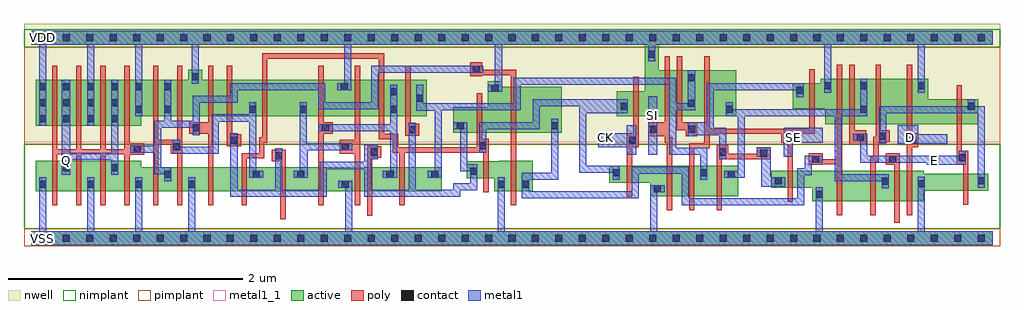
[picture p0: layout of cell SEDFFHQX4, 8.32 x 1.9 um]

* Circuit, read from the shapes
.subckt SEDFFHQX4 CK D E Q SE SI VDD VSS
M1 Q n1 VSS VSS nfet w=0.26u l=0.045u m=4
M2 n1 n2 VSS VSS nfet w=0.205u l=0.045u m=2
M3 n3 n1 VSS VSS nfet w=0.205u l=0.045u
M4 n2 n4 n3 VSS nfet w=0.205u l=0.045u
M5 n5 n6 n2 VSS nfet w=0.205u l=0.045u
M6 VSS n7 n5 VSS nfet w=0.205u l=0.045u
M7 n8 n5 VSS VSS nfet w=0.205u l=0.045u
M8 n7 n6 n8 VSS nfet w=0.205u l=0.045u
M9 n9 n4 n7 VSS nfet w=0.205u l=0.045u
M10 VSS n4 n6 VSS nfet w=0.145u l=0.045u
M11 n10 n1 VSS VSS nfet w=0.26u l=0.045u
M12 VSS CK n4 VSS nfet w=0.145u l=0.045u
M13 n11 SI VSS VSS nfet w=0.26u l=0.045u
M14 n9 SE n11 VSS nfet w=0.26u l=0.045u
M15 n12 n13 n9 VSS nfet w=0.26u l=0.045u
M16 VSS SE n13 VSS nfet w=0.145u l=0.045u
M17 n14 n10 VSS VSS nfet w=0.26u l=0.045u
M18 n12 n15 n14 VSS nfet w=0.26u l=0.045u
M19 n16 E n12 VSS nfet w=0.26u l=0.045u
M20 VSS D n16 VSS nfet w=0.26u l=0.045u
M21 n15 E VSS VSS nfet w=0.145u l=0.045u
M22 Q n1 VDD VDD pfet w=0.39u l=0.045u m=4
M23 n1 n2 VDD VDD pfet w=0.31u l=0.045u m=2
M24 n17 n1 VDD VDD pfet w=0.31u l=0.045u
M25 n2 n6 n17 VDD pfet w=0.31u l=0.045u
M26 n5 n4 n2 VDD pfet w=0.31u l=0.045u
M27 VDD n7 n5 VDD pfet w=0.31u l=0.045u
M28 n18 n5 VDD VDD pfet w=0.31u l=0.045u
M29 n7 n4 n18 VDD pfet w=0.31u l=0.045u
M30 n9 n6 n7 VDD pfet w=0.31u l=0.045u
M31 VDD n4 n6 VDD pfet w=0.215u l=0.045u
M32 n10 n1 VDD VDD pfet w=0.39u l=0.045u
M33 VDD CK n4 VDD pfet w=0.215u l=0.045u
M34 n19 SI VDD VDD pfet w=0.39u l=0.045u
M35 n9 n13 n19 VDD pfet w=0.39u l=0.045u
M36 n12 SE n9 VDD pfet w=0.39u l=0.045u
M37 VDD SE n13 VDD pfet w=0.215u l=0.045u
M38 n20 n10 VDD VDD pfet w=0.39u l=0.045u
M39 n12 E n20 VDD pfet w=0.39u l=0.045u
M40 n21 n15 n12 VDD pfet w=0.39u l=0.045u
M41 VDD D n21 VDD pfet w=0.39u l=0.045u
M42 n15 E VDD VDD pfet w=0.215u l=0.045u
.ends

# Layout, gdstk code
import gdstk
lib = gdstk.Library(unit=1e-6, precision=5e-10)
def R(c, l, rs):  # rectangles x0, y0, x1, y1
    for r in rs: c.add(gdstk.rectangle(r[:2], r[2:], *l))
def A(c, l, x, y, w, h, nx, ny, dx, dy):  # array of equal rectangles
    R(c, l, [(x+i*dx, y+j*dy, x+i*dx+w, y+j*dy+h) for i in range(nx) for j in range(ny)])
def P(c, l, *ps):  # polygons
    for p in ps: c.add(gdstk.Polygon(p, *l))
active = (1, 0)
nwell = (2, 0)
poly = (3, 0)
nimplant = (4, 0)
pimplant = (5, 0)
contact = (6, 0)
metal1 = (7, 0)
metal1_1 = (7, 1)

sedffhqx4 = lib.new_cell('SEDFFHQX4')
R(sedffhqx4, active, [(0,-0.06,8.2,0.06)])
P(sedffhqx4, active, [(0,1.77),(8.2,1.77),(8.2,1.65),(5.35,1.65),(5.35,1.43),(6.01,1.43),(6.01,1.04),(4.995,1.04),(4.995,1.255),(5.23,1.255),(5.23,1.65),(0,1.65)],
  [(1.34,1.435),(1.46,1.435),(1.46,1.35),(3.375,1.35),(3.375,1.04),(0.94,1.04),(0.94,0.96),(0.04,0.96),(0.04,1.35),(1.34,1.35)],
  [(3.895,1.34),(4.015,1.34),(4.015,1.29),(4.525,1.29),(4.525,0.9),(3.6,0.9),(3.6,1.115),(3.895,1.115)],
  [(6.73,1.36),(7.65,1.36),(7.65,1.185),(8.075,1.185),(8.075,0.97),(6.77,0.97),(6.77,1.105),(6.495,1.105),(6.495,1.32),(6.73,1.32)],
  [(0.04,0.66),(0.94,0.66),(0.94,0.605),(3.5,0.605),(3.5,0.4),(0.04,0.4)],
  [(3.99,0.66),(4.275,0.66),(4.275,0.4),(3.95,0.4),(3.95,0.51),(3.715,0.51),(3.715,0.655),(3.99,0.655)],
  [(4.93,0.62),(6.03,0.62),(6.03,0.36),(5.28,0.36),(5.28,0.475),(4.93,0.475)],
  [(6.31,0.575),(7.61,0.575),(7.61,0.55),(8.16,0.55),(8.16,0.405),(7.61,0.405),(7.61,0.315),(6.66,0.315),(6.66,0.43),(6.31,0.43)])
R(sedffhqx4, nwell, [(-0.06,0.82,8.26,1.83)])
P(sedffhqx4, poly, [(1.97,1.575),(3.01,1.575),(3.01,0.89),(3.13,0.89),(3.13,0.775),(3.8,0.775),(3.8,1.235),(3.845,1.235),(3.845,0.85),(3.9,0.85),(3.9,0.39),(3.855,0.39),(3.855,0.73),(3.185,0.73),(3.185,0.28),(3.14,0.28),(3.14,0.73),(3.085,0.73),(3.085,0.845),(2.965,0.845),(2.965,1.53),(2.015,1.53),(2.015,0.815),(1.99,0.815),(1.99,0.68),(1.84,0.68),(1.84,0.28),(1.795,0.28),(1.795,0.725),(1.945,0.725),(1.945,0.86),(1.97,0.86)],
  [(0.18,1.47),(0.225,1.47),(0.225,0.76),(0.385,0.76),(0.385,1.47),(0.43,1.47),(0.43,0.76),(0.59,0.76),(0.59,1.47),(0.635,1.47),(0.635,0.76),(0.795,0.76),(0.795,1.47),(0.84,1.47),(0.84,0.81),(0.965,0.81),(0.965,0.71),(0.84,0.71),(0.84,0.28),(0.795,0.28),(0.795,0.715),(0.635,0.715),(0.635,0.28),(0.59,0.28),(0.59,0.715),(0.43,0.715),(0.43,0.28),(0.385,0.28),(0.385,0.715),(0.225,0.715),(0.225,0.28),(0.18,0.28)],
  [(1.04,1.47),(1.085,1.47),(1.085,0.84),(1.245,0.84),(1.245,1.47),(1.29,1.47),(1.29,0.28),(1.245,0.28),(1.245,0.72),(1.19,0.72),(1.19,0.795),(1.085,0.795),(1.085,0.28),(1.04,0.28)],
  [(1.51,1.47),(1.555,1.47),(1.555,0.28),(1.51,0.28),(1.51,0.89),(1.35,0.89),(1.35,0.99),(1.51,0.99)],
  [(1.67,1.47),(1.715,1.47),(1.715,0.885),(1.79,0.885),(1.79,0.785),(1.67,0.785)],
  [(2.45,1.47),(2.495,1.47),(2.495,0.99),(2.57,0.99),(2.57,0.89),(2.495,0.89),(2.495,0.28),(2.45,0.28)],
  [(2.76,1.47),(2.805,1.47),(2.805,0.28),(2.76,0.28),(2.76,0.72),(2.63,0.72),(2.63,0.84),(2.76,0.84)],
  [(3.745,1.5),(3.845,1.5),(3.845,1.435),(4.135,1.435),(4.135,0.28),(4.09,0.28),(4.09,1.39),(3.845,1.39),(3.845,1.38),(3.745,1.38)],
  [(3.19,1.47),(3.235,1.47),(3.235,0.975),(3.31,0.975),(3.31,0.875),(3.19,0.875)],
  [(5.4,1.55),(5.445,1.55),(5.445,0.86),(5.465,0.86),(5.465,0.24),(5.42,0.24),(5.42,0.815),(5.4,0.815),(5.4,0.87),(5.26,0.87),(5.26,0.99),(5.4,0.99)],
  [(5.505,1.55),(5.55,1.55),(5.55,0.99),(5.68,0.99),(5.68,0.87),(5.58,0.87),(5.58,0.92),(5.505,0.92)],
  [(5.74,1.55),(5.785,1.55),(5.785,0.935),(6.635,0.935),(6.635,1.44),(6.68,1.44),(6.68,0.89),(6.495,0.89),(6.495,0.31),(6.45,0.31),(6.45,0.815),(6.395,0.815),(6.395,0.89),(5.785,0.89),(5.785,0.765),(5.655,0.765),(5.655,0.24),(5.61,0.24),(5.61,0.81),(5.74,0.81)],
  [(6.63,0.725),(6.75,0.725),(6.75,0.675),(6.87,0.675),(6.87,1.48),(6.915,1.48),(6.915,0.195),(6.87,0.195),(6.87,0.63),(6.75,0.63),(6.75,0.625),(6.63,0.625)],
  [(6.975,1.48),(7.02,1.48),(7.02,0.92),(7.12,0.92),(7.12,0.8),(6.975,0.8)],
  [(7.2,1.48),(7.245,1.48),(7.245,0.92),(7.32,0.92),(7.32,0.82),(7.225,0.82),(7.225,0.65),(7.2,0.65),(7.2,0.195),(7.155,0.195),(7.155,0.695),(7.18,0.695),(7.18,0.865),(7.2,0.865)],
  [(7.465,1.48),(7.51,1.48),(7.51,0.895),(7.565,0.895),(7.565,0.775),(7.51,0.775),(7.51,0.195),(7.465,0.195)],
  [(5.135,1.375),(5.18,1.375),(5.18,0.775),(5.125,0.775),(5.125,0.355),(5.08,0.355),(5.08,0.895),(5.135,0.895)],
  [(7.89,1.305),(7.935,1.305),(7.935,0.745),(7.99,0.745),(7.99,0.285),(7.945,0.285),(7.945,0.625),(7.89,0.625)],
  [(5.845,0.795),(5.945,0.795),(5.945,0.72),(6.185,0.72),(6.185,0.775),(6.305,0.775),(6.305,0.675),(5.89,0.675),(5.89,0.24),(5.845,0.24)],
  [(2.05,0.755),(2.17,0.755),(2.17,0.16),(2.125,0.16),(2.125,0.655),(2.05,0.655)],
  [(2.865,0.785),(2.985,0.785),(2.985,0.685),(2.91,0.685),(2.91,0.19),(2.865,0.19)],
  [(7.285,0.725),(7.405,0.725),(7.405,0.13),(7.36,0.13),(7.36,0.625),(7.285,0.625)])
R(sedffhqx4, nimplant, [(-0.06,0.08,8.26,0.8), (-0.06,1.63,8.26,1.78)])
R(sedffhqx4, pimplant, [(-0.06,-0.07,8.26,0.08), (-0.06,0.8,8.26,1.63)])
A(sedffhqx4, contact, 0.07, -0.03, 0.06, 0.06, 41, 2, 0.2, 1.71)
A(sedffhqx4, contact, 0.07, 0.43, 0.06, 0.06, 3, 1, 0.41, 0)
A(sedffhqx4, contact, 5.6, 0.9, 0.06, 0.06, 1, 3, 0, 0.22)
A(sedffhqx4, contact, 0.07, 0.99, 0.06, 0.06, 4, 2, 0.205, 0.135)
A(sedffhqx4, contact, 0.07, 1.26, 0.06, 0.06, 5, 1, 0.205, 0)
R(sedffhqx4, contact, [(6.69,0.345,6.75,0.405), (5.31,0.39,5.37,0.45), (1.34,0.43,1.4,0.49), (2.65,0.43,2.71,0.49), (3.98,0.43,4.04,0.49), (4.185,0.43,4.245,0.49), (7.56,0.435,7.62,0.495), (7.25,0.455,7.31,0.515), (6.34,0.46,6.4,0.52), (8.07,0.46,8.13,0.52), (1.135,0.515,1.195,0.575), (1.89,0.515,1.95,0.575), (2.27,0.515,2.33,0.575), (3.03,0.515,3.09,0.575), (3.41,0.515,3.47,0.575), (5.94,0.515,6,0.575), (4.96,0.53,5.02,0.59), (5.705,0.53,5.765,0.59), (3.745,0.54,3.805,0.6), (0.275,0.57,0.335,0.63), (0.685,0.57,0.745,0.63), (6.66,0.645,6.72,0.705), (7.315,0.645,7.375,0.705), (7.91,0.655,7.97,0.715), (2.08,0.675,2.14,0.735), (6.215,0.695,6.275,0.755), (2.895,0.705,2.955,0.765), (5.865,0.705,5.925,0.765), (0.875,0.73,0.935,0.79), (1.21,0.75,1.27,0.81), (2.65,0.75,2.71,0.81), (3.82,0.76,3.88,0.82), (1.7,0.805,1.76,0.865), (5.1,0.805,5.16,0.865), (7.485,0.805,7.545,0.865), (7.04,0.83,7.1,0.89), (7.23,0.84,7.29,0.9), (6.415,0.845,6.475,0.905), (3.22,0.895,3.28,0.955), (5.28,0.9,5.34,0.96), (1.38,0.91,1.44,0.97), (2.48,0.91,2.54,0.97), (3.63,0.93,3.69,0.99), (4.435,0.93,4.495,0.99), (0.89,1.07,0.95,1.13), (1.135,1.07,1.195,1.13), (1.86,1.07,1.92,1.13), (2.29,1.07,2.35,1.13), (3.06,1.07,3.12,1.13), (5.92,1.07,5.98,1.13), (7.07,1.07,7.13,1.13), (5.025,1.095,5.085,1.155), (7.985,1.095,8.045,1.155), (3.285,1.165,3.345,1.225), (3.06,1.22,3.12,1.28), (6.525,1.23,6.585,1.29), (3.925,1.25,3.985,1.31), (1.135,1.26,1.195,1.32), (2.64,1.26,2.7,1.32), (6.76,1.27,6.82,1.33), (7.07,1.27,7.13,1.33), (7.56,1.27,7.62,1.33), (1.37,1.345,1.43,1.405), (3.765,1.41,3.825,1.47), (5.26,1.54,5.32,1.6)])
R(sedffhqx4, metal1, [(5.26,0.71,5.34,1.21)])
P(sedffhqx4, metal1, [(0,1.77),(8.2,1.77),(8.2,1.65),(7.62,1.65),(7.62,1.24),(7.56,1.24),(7.56,1.65),(6.82,1.65),(6.82,1.24),(6.76,1.24),(6.76,1.65),(5.32,1.65),(5.32,1.51),(5.26,1.51),(5.26,1.65),(4.015,1.65),(4.015,1.25),(3.895,1.25),(3.895,1.31),(3.955,1.31),(3.955,1.65),(2.73,1.65),(2.73,1.26),(2.61,1.26),(2.61,1.32),(2.67,1.32),(2.67,1.65),(1.43,1.65),(1.43,1.315),(1.37,1.315),(1.37,1.65),(0.95,1.65),(0.95,1.04),(0.89,1.04),(0.89,1.65),(0.54,1.65),(0.54,0.96),(0.48,0.96),(0.48,1.65),(0.13,1.65),(0.13,0.96),(0.07,0.96),(0.07,1.65),(0,1.65)],
  [(0.26,1.35),(0.335,1.35),(0.335,0.73),(0.685,0.73),(0.685,1.35),(0.745,1.35),(0.745,0.54),(0.685,0.54),(0.685,0.67),(0.34,0.67),(0.34,0.6),(0.335,0.6),(0.335,0.54),(0.26,0.54)],
  [(2.9,1.47),(3.855,1.47),(3.855,1.41),(2.96,1.41),(2.96,1.1),(2.45,1.1),(2.45,1.26),(1.76,1.26),(1.76,1.155),(1.44,1.155),(1.44,0.88),(1.38,0.88),(1.38,0.94),(1.11,0.94),(1.11,0.605),(1.195,0.605),(1.195,0.485),(1.135,0.485),(1.135,0.545),(1.05,0.545),(1.05,0.73),(0.845,0.73),(0.845,0.79),(1.05,0.79),(1.05,1),(1.135,1),(1.135,1.35),(1.195,1.35),(1.195,1),(1.38,1),(1.38,1.215),(1.7,1.215),(1.7,1.32),(2.51,1.32),(2.51,1.16),(2.9,1.16)],
  [(1.86,1.16),(1.92,1.16),(1.92,0.575),(1.98,0.575),(1.98,0.515),(1.86,0.515),(1.86,0.995),(1.6,0.995),(1.6,0.72),(1.21,0.72),(1.21,0.84),(1.27,0.84),(1.27,0.78),(1.54,0.78),(1.54,1.055),(1.86,1.055)],
  [(0.07,0.52),(0.13,0.52),(0.13,0.06),(0.48,0.06),(0.48,0.52),(0.54,0.52),(0.54,0.06),(0.89,0.06),(0.89,0.52),(0.95,0.52),(0.95,0.06),(1.34,0.06),(1.34,0.52),(1.4,0.52),(1.4,0.06),(2.68,0.06),(2.68,0.43),(2.62,0.43),(2.62,0.49),(2.74,0.49),(2.74,0.06),(3.98,0.06),(3.98,0.52),(4.04,0.52),(4.04,0.06),(5.28,0.06),(5.28,0.45),(5.4,0.45),(5.4,0.39),(5.34,0.39),(5.34,0.06),(6.69,0.06),(6.69,0.435),(6.75,0.435),(6.75,0.06),(7.56,0.06),(7.56,0.525),(7.62,0.525),(7.62,0.06),(8.2,0.06),(8.2,-0.06),(0,-0.06),(0,0.06),(0.07,0.06)],
  [(1.7,0.895),(1.76,0.895),(1.76,0.415),(2.08,0.415),(2.08,0.765),(2.14,0.765),(2.14,0.415),(2.46,0.415),(2.46,0.65),(2.84,0.65),(2.84,0.795),(2.955,0.795),(2.955,0.675),(2.9,0.675),(2.9,0.415),(3.22,0.415),(3.22,0.985),(3.28,0.985),(3.28,0.415),(3.6,0.415),(3.6,0.47),(3.745,0.47),(3.745,0.57),(3.66,0.57),(3.66,0.93),(3.6,0.93),(3.6,0.99),(3.72,0.99),(3.72,0.63),(3.805,0.63),(3.805,0.41),(3.66,0.41),(3.66,0.355),(2.84,0.355),(2.84,0.59),(2.52,0.59),(2.52,0.355),(1.7,0.355)],
  [(2.29,1.16),(2.35,1.16),(2.35,0.81),(2.74,0.81),(2.74,0.75),(2.36,0.75),(2.36,0.515),(2.24,0.515),(2.24,0.575),(2.29,0.575)],
  [(4.115,1.37),(5.5,1.37),(5.5,1.15),(5.6,1.15),(5.6,1.43),(5.66,1.43),(5.66,1.09),(5.5,1.09),(5.5,0.77),(5.765,0.77),(5.765,0.5),(5.705,0.5),(5.705,0.71),(5.44,0.71),(5.44,1.31),(4.175,1.31),(4.175,1.09),(3.5,1.09),(3.5,0.515),(3.38,0.515),(3.38,0.575),(3.44,0.575),(3.44,1.085),(3.285,1.085),(3.285,1.31),(3.345,1.31),(3.345,1.15),(4.115,1.15)],
  [(3.06,1.31),(3.12,1.31),(3.12,0.515),(3,0.515),(3,0.575),(3.06,0.575),(3.06,0.91),(2.45,0.91),(2.45,0.97),(3.06,0.97)],
  [(4.275,1.185),(5.085,1.185),(5.085,1.065),(4.735,1.065),(4.735,0.62),(5.02,0.62),(5.02,0.5),(4.96,0.5),(4.96,0.56),(4.675,0.56),(4.675,1.125),(4.335,1.125),(4.335,0.93),(3.88,0.93),(3.88,0.73),(3.82,0.73),(3.82,0.99),(4.275,0.99)],
  [(4.435,1.02),(4.495,1.02),(4.495,0.5),(4.245,0.5),(4.245,0.4),(5.12,0.4),(5.12,0.61),(5.605,0.61),(5.605,0.34),(6.53,0.34),(6.53,0.595),(6.595,0.595),(6.595,0.705),(6.75,0.705),(6.75,0.645),(6.655,0.645),(6.655,0.535),(6.59,0.535),(6.59,0.28),(5.545,0.28),(5.545,0.55),(5.18,0.55),(5.18,0.34),(4.185,0.34),(4.185,0.56),(4.435,0.56)],
  [(5.76,1.32),(6.585,1.32),(6.585,1.2),(6.525,1.2),(6.525,1.26),(5.82,1.26),(5.82,0.94),(5.925,0.94),(5.925,0.675),(5.865,0.675),(5.865,0.88),(5.66,0.88),(5.66,0.87),(5.6,0.87),(5.6,0.99),(5.76,0.99)],
  [(5.08,0.965),(5.16,0.965),(5.16,0.71),(5.08,0.71),(5.08,0.775),(4.835,0.775),(4.835,0.895),(5.08,0.895)],
  [(5.92,1.16),(5.98,1.16),(5.98,1.1),(7.07,1.1),(7.07,1.36),(7.13,1.36),(7.13,1.04),(6.91,1.04),(6.91,0.545),(7.31,0.545),(7.31,0.425),(7.25,0.425),(7.25,0.485),(6.85,0.485),(6.85,1.04),(6.085,1.04),(6.085,0.515),(5.91,0.515),(5.91,0.575),(6.025,0.575),(6.025,1.04),(5.92,1.04)],
  [(7.985,1.185),(8.045,1.185),(8.045,1.125),(8.13,1.125),(8.13,0.43),(8.07,0.43),(8.07,1.065),(7.29,1.065),(7.29,0.81),(7.23,0.81),(7.23,1.125),(7.985,1.125)],
  [(6.415,0.94),(6.75,0.94),(6.75,0.815),(6.495,0.815),(6.495,0.695),(6.415,0.695)],
  [(6.185,0.775),(6.305,0.775),(6.305,0.52),(6.43,0.52),(6.43,0.44),(6.225,0.44),(6.225,0.695),(6.185,0.695)],
  [(7.01,0.89),(7.13,0.89),(7.13,0.705),(7.91,0.705),(7.91,0.745),(7.97,0.745),(7.97,0.625),(7.635,0.625),(7.635,0.645),(7.07,0.645),(7.07,0.83),(7.01,0.83)],
  [(7.39,0.965),(7.565,0.965),(7.565,0.885),(7.81,0.885),(7.81,0.805),(7.39,0.805)])
R(sedffhqx4, metal1_1, [(0.06,-0.04,0.14,0.04), (0.26,0.625,0.34,0.705), (7.66,0.625,7.74,0.705), (4.86,0.815,4.94,0.895), (6.46,0.815,6.54,0.895), (7.46,0.815,7.54,0.895), (5.26,1.005,5.34,1.085), (0.06,1.67,0.14,1.75)])
sedffhqx4.add(gdstk.Label('E', (7.7,0.665), layer=7, texttype=1))
sedffhqx4.add(gdstk.Label('D', (7.5,0.855), layer=7, texttype=1))
sedffhqx4.add(gdstk.Label('SE', (6.5,0.855), layer=7, texttype=1))
sedffhqx4.add(gdstk.Label('SI', (5.3,1.045), layer=7, texttype=1))
sedffhqx4.add(gdstk.Label('CK', (4.9,0.855), layer=7, texttype=1))
sedffhqx4.add(gdstk.Label('Q', (0.3,0.665), layer=7, texttype=1))
sedffhqx4.add(gdstk.Label('VDD', (0.1,1.71), layer=7, texttype=1))
sedffhqx4.add(gdstk.Label('VSS', (0.1,0), layer=7, texttype=1))
sedffhqx4.add(gdstk.Label('SEDFFHQX4', (0,0), layer=63, texttype=0))

lib.write_gds('SEDFFHQX4.gds')
